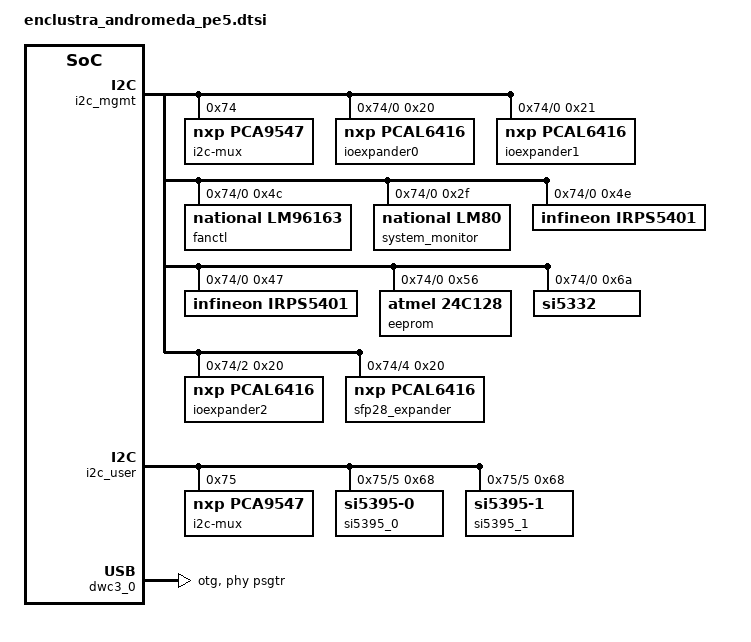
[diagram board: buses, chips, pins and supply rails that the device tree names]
#include <dt-bindings/phy/phy.h>

&i2c_mgmt {
	i2c-mux@74 {
		compatible = "nxp,pca9547";
		reg = <0x74>;
		#address-cells = <1>;
		#size-cells = <0>;

		i2c-mux@0 {
			reg = <0>;
			ioexpander0: gpio@20 {
				compatible = "nxp,pcal6416";
				reg = <0x20>;
				gpio-controller;
				#gpio-cells = <2>;
			};
			ioexpander1: gpio@21 {
				compatible = "nxp,pcal6416";
				reg = <0x21>;
				gpio-controller;
				#gpio-cells = <2>;
			};
			fanctl: lm96063@4c {
				compatible = "national,lm96163";
				reg = <0x4c>;
			};	
			system_monitor: lm96080@2f {
				compatible = "national,lm80";
				reg = <0x2f>;
			};
			irps5401@4e {
				compatible = "infineon,irps5401";
				reg = <0x4e>;
			};
			irps5401@47 {
				compatible = "infineon,irps5401";
				reg = <0x47>;
			};
			eeprom@56 {
				compatible = "atmel,24c128";
				reg = <0x56>;	
			};
			si5332: si5332@6a {
				reg = <0x6a>;
			};
		};
		i2c-mux@2 {
			reg = <2>;
			ioexpander2: gpio@20 {
				compatible = "nxp,pcal6416";
				reg = <0x20>;
				gpio-controller;
				#gpio-cells = <2>;
			};
		};
		i2c-mux@4 {
			reg = <4>;
			sfp28_expander: gpio@20 {
				compatible = "nxp,pcal6416";
				reg = <0x20>;
				gpio-controller;
				#gpio-cells = <2>;
			};
		};
	};
};

&i2c_user {
	i2c-mux@75 {
		compatible = "nxp,pca9547";
		reg = <0x75>;
		#address-cells = <1>;
		#size-cells = <0>;
		i2c-mux@5 {
			reg = <5>;
			si5395_0: si5395-0@68 {
				reg = <0x68>;
			};
			si5395_1: si5395-1@68 {
				reg = <0x68>;
			};
		};
	};
};

&sdhci1 {
	/* no-1-8-v; */	/* for 1.0 silicon */
	wp-inverted;
	xlnx,mio_bank = <1>;
};

&dwc3_0 {
	dr_mode = "otg";
	snps,usb3_lpm_capable;
	phy-names = "usb3-phy";
	phys = <&psgtr 2 PHY_TYPE_USB3 0 2>;
	maximum-speed = "super-speed";
};

&zynqmp_dp_snd_pcm0 {
	status = "disabled";
};

&zynqmp_dp_snd_pcm1 {
	status = "disabled";
};

&zynqmp_dp_snd_card0 {
	status = "disabled";
};

&zynqmp_dp_snd_codec0 {
	status = "disabled";
};
